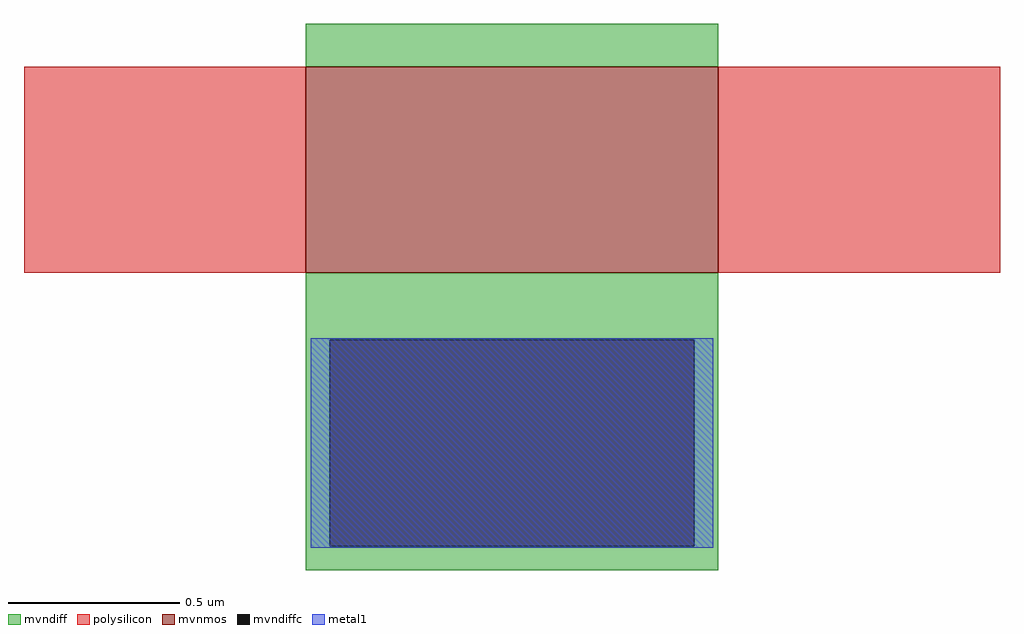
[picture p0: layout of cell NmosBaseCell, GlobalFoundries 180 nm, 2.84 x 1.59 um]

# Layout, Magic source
magic
tech gf180mcuD
magscale 1 10
<< mvnmos >>
rect -80 -40 160 80
<< mvndiff >>
rect -80 80 160 105
rect -80 -79 160 -40
rect -80 -199 -66 -79
rect 146 -199 160 -79
rect -80 -213 160 -199
<< mvndiffc >>
rect -66 -199 146 -79
<< metal1 >>
rect -77 -200 157 -78
<< polysilicon >>
rect -244 -40 -80 80
rect 160 -40 324 80
<< end >>
